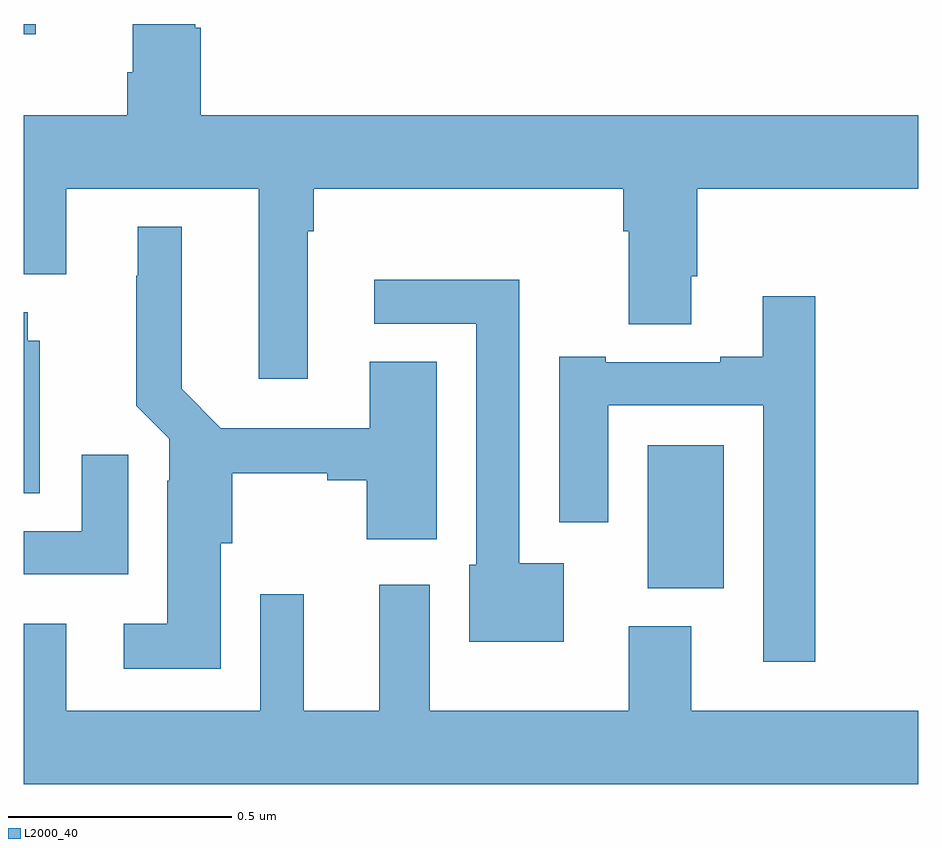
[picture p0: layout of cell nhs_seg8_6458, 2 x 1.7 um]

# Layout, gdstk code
import gdstk
lib = gdstk.Library(unit=1e-6, precision=1e-09)
def R(c, l, rs):  # rectangles x0, y0, x1, y1
    for r in rs: c.add(gdstk.rectangle(r[:2], r[2:], *l))
def P(c, l, *ps):  # polygons
    for p in ps: c.add(gdstk.Polygon(p, *l))
L2000_40 = (2000, 40)

nhs_seg8_6458 = lib.new_cell('nhs_seg8_6458')
R(nhs_seg8_6458, L2000_40, [(198.395,1083.638,198.565,1083.958), (197,1084.877,197.026,1084.9)])
P(nhs_seg8_6458, L2000_40, [(197,1084.34),(197.095,1084.34),(197.095,1084.532),(197.525,1084.532),(197.525,1084.107),(197.635,1084.107),(197.635,1084.436),(197.648,1084.436),(197.648,1084.532),(198.341,1084.532),(198.341,1084.436),(198.353,1084.436),(198.353,1084.228),(198.493,1084.228),(198.493,1084.336),(198.506,1084.336),(198.506,1084.532),(199,1084.532),(199,1084.696),(197.396,1084.696),(197.396,1084.892),(197.383,1084.892),(197.383,1084.9),(197.243,1084.9),(197.243,1084.792),(197.231,1084.792),(197.231,1084.696),(197,1084.696)],
  [(197.44,1083.738),(197.466,1083.738),(197.466,1083.895),(197.678,1083.895),(197.678,1083.88),(197.767,1083.88),(197.767,1083.747),(197.923,1083.747),(197.923,1084.145),(197.774,1084.145),(197.774,1083.996),(197.44,1083.996),(197.353,1084.084),(197.353,1084.447),(197.255,1084.447),(197.255,1084.337),(197.251,1084.337),(197.251,1084.046),(197.325,1083.972),(197.325,1083.878),(197.321,1083.878),(197.321,1083.559),(197.223,1083.559),(197.223,1083.458),(197.44,1083.458)],
  [(198.208,1083.694),(198.108,1083.694),(198.108,1084.328),(197.784,1084.328),(197.784,1084.23),(198.012,1084.23),(198.012,1083.69),(197.996,1083.69),(197.996,1083.518),(198.208,1083.518)],
  [(198.77,1084.291),(198.653,1084.291),(198.653,1084.156),(198.557,1084.156),(198.557,1084.143),(198.301,1084.143),(198.301,1084.156),(198.197,1084.156),(198.197,1083.786),(198.307,1083.786),(198.307,1084.047),(198.654,1084.047),(198.654,1083.474),(198.77,1083.474)],
  [(197.035,1084.191),(197.008,1084.191),(197.008,1084.255),(197,1084.255),(197,1083.85),(197.035,1083.85)],
  [(197.233,1083.937),(197.129,1083.937),(197.129,1083.765),(197,1083.765),(197,1083.669),(197.233,1083.669)],
  [(199,1083.364),(198.493,1083.364),(198.493,1083.553),(198.353,1083.553),(198.353,1083.364),(197.908,1083.364),(197.908,1083.646),(197.795,1083.646),(197.795,1083.364),(197.626,1083.364),(197.626,1083.625),(197.529,1083.625),(197.529,1083.364),(197.095,1083.364),(197.095,1083.559),(197,1083.559),(197,1083.2),(199,1083.2)])

lib.write_gds('nhs_seg8_6458.gds')
